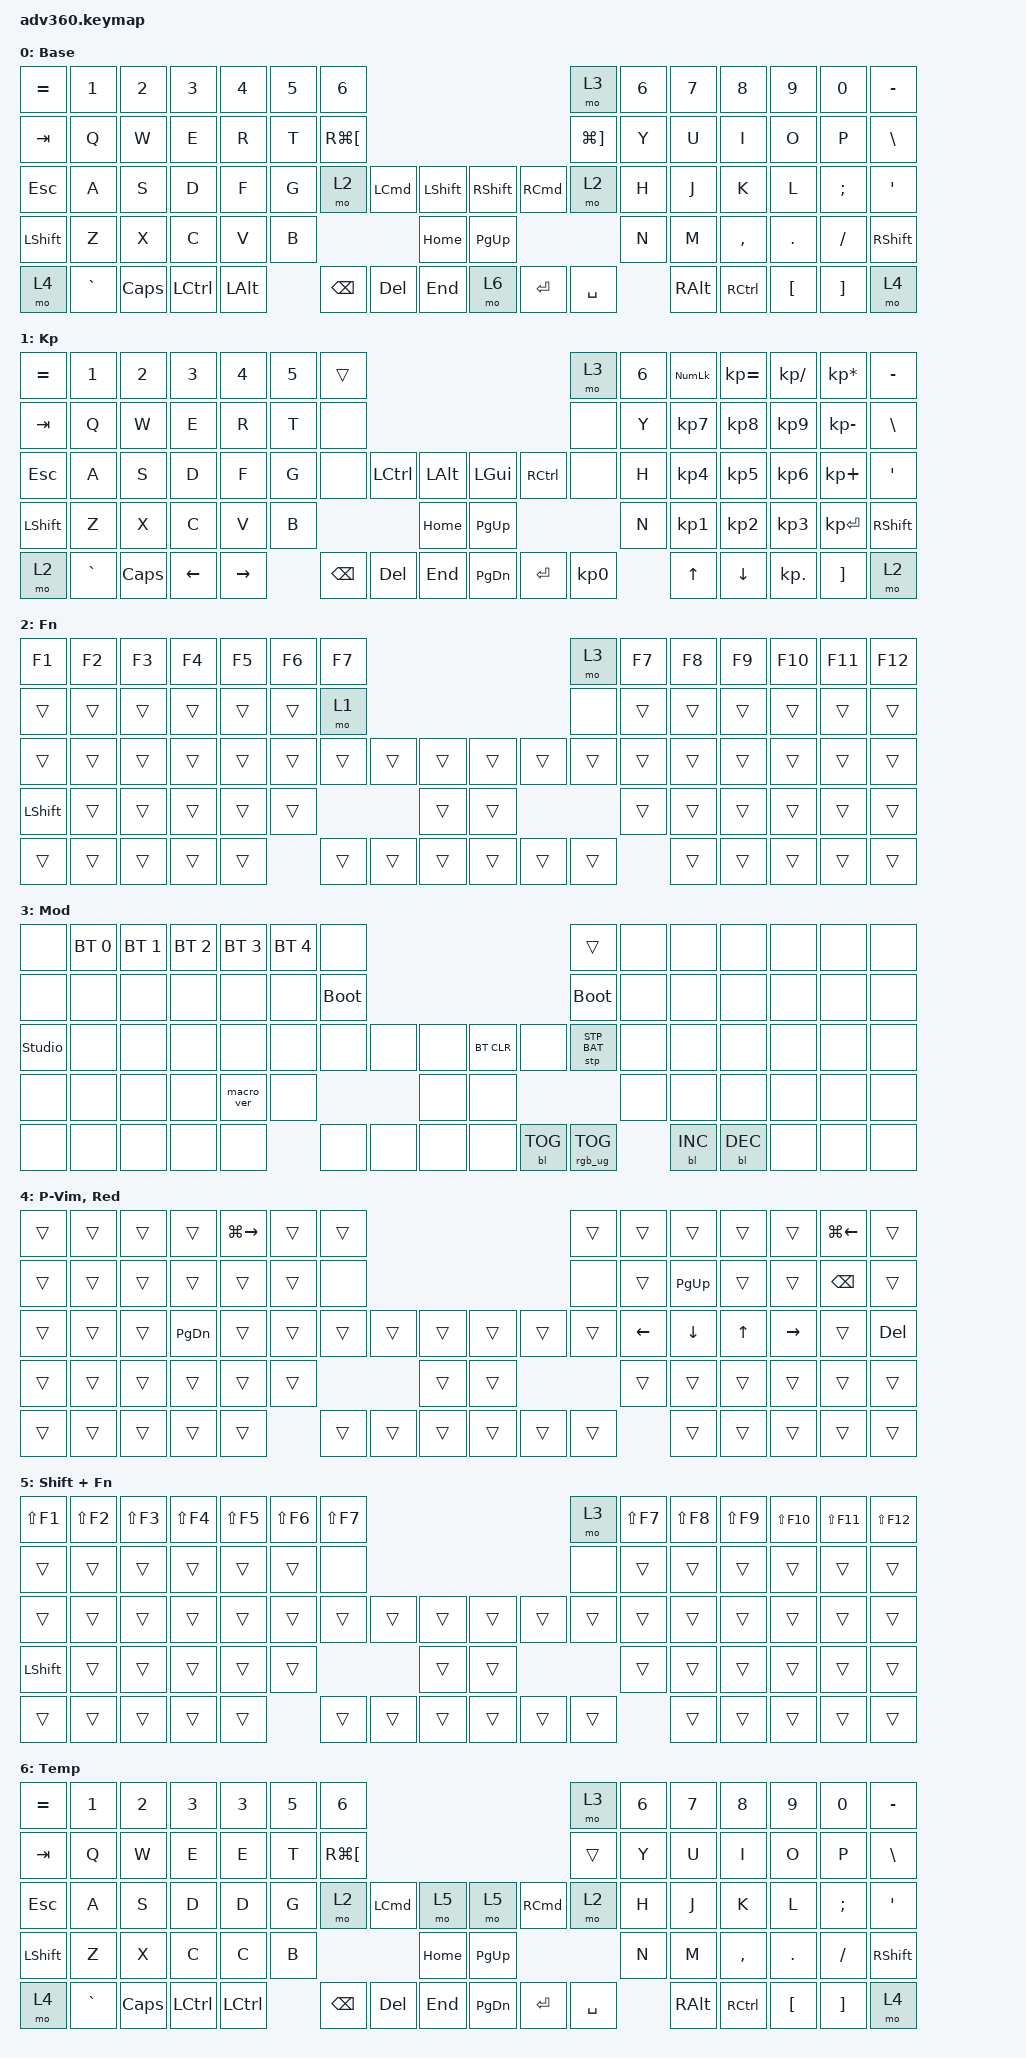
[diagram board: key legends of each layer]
#include <dt-bindings/zmk/stp.h>
#include <behaviors.dtsi>
#include <dt-bindings/zmk/backlight.h>
#include <dt-bindings/zmk/bt.h>
#include <dt-bindings/zmk/keys.h>
#include <dt-bindings/zmk/rgb.h>

/ {
    behaviors {
        #include "macros.dtsi"
      #include "version.dtsi"

        hm: homerow_mods {
            compatible = "zmk,behavior-hold-tap";
            label = "HOMEROW_MODS";
            #binding-cells = <2>;
            tapping-term-ms = <200>;
            quick_tap_ms = <175>;
            flavor = "tap-preferred";
            bindings = <&kp>, <&kp>;
        };
    };

    combos {
        compatible = "zmk,combos";

        mute {
            bindings = <&kp K_MUTE>;
            key-positions = <11 46>;
            layers = <2>;
        };
    };

    keymap {
        compatible = "zmk,keymap";

        default_layer {
            display-name = "Base";
            bindings = <
&kp EQUAL   &kp N1     &kp N2    &kp N3            &kp N4    &kp N5  &kp NUMBER_6                                                                         &mo 3                  &kp N6  &kp N7    &kp N8     &kp N9    &kp N0    &kp MINUS
&kp TAB     &kp Q      &kp W     &kp E             &kp R     &kp T   &kp RG(LEFT_BRACKET)                                                                 &kp LG(RIGHT_BRACKET)  &kp Y   &kp U     &kp I      &kp O     &kp P     &kp BSLH
&kp ESCAPE  &kp A      &kp S     &kp D             &kp F     &kp G   &mo 2                 &kp LEFT_COMMAND  &kp LSHFT      &kp RSHFT  &kp RIGHT_COMMAND  &mo 2                  &kp H   &kp J     &kp K      &kp L     &kp SEMI  &kp SQT
&kp LSHFT   &kp Z      &kp X     &kp C             &kp V     &kp B                                           &kp HOME       &kp PG_UP                                            &kp N   &kp M     &kp COMMA  &kp DOT   &kp FSLH  &kp RSHFT
&mo 4       &kp GRAVE  &kp CAPS  &kp LEFT_CONTROL  &kp LALT          &kp BSPC              &kp DEL           &kp END        &mo 6      &kp ENTER          &kp SPACE                      &kp RALT  &kp RCTRL  &kp LBKT  &kp RBKT  &mo 4
            >;
        };

        keypad {
            display-name = "Kp";
            bindings = <
&kp EQUAL  &kp N1     &kp N2    &kp N3    &kp N4     &kp N5  &trans                                                   &mo 3      &kp N6  &kp KP_NUM  &kp KP_EQUAL  &kp KP_DIVIDE  &kp KP_MULTIPLY  &kp MINUS
&kp TAB    &kp Q      &kp W     &kp E     &kp R      &kp T   &none                                                    &none      &kp Y   &kp KP_N7   &kp KP_N8     &kp KP_N9      &kp KP_MINUS     &kp BSLH
&kp ESC    &kp A      &kp S     &kp D     &kp F      &kp G   &none     &kp LCTRL  &kp LALT      &kp LGUI   &kp RCTRL  &none      &kp H   &kp KP_N4   &kp KP_N5     &kp KP_N6      &kp KP_PLUS      &kp SQT
&kp LSHFT  &kp Z      &kp X     &kp C     &kp V      &kp B                        &kp HOME      &kp PG_UP                        &kp N   &kp KP_N1   &kp KP_N2     &kp KP_N3      &kp KP_ENTER     &kp RSHFT
&mo 2      &kp GRAVE  &kp CAPS  &kp LEFT  &kp RIGHT          &kp BSPC  &kp DEL    &kp END       &kp PG_DN  &kp ENTER  &kp KP_N0          &kp UP      &kp DOWN      &kp KP_DOT     &kp RBKT         &mo 2
            >;
        };

        fn {
            display-name = "Fn";
            bindings = <
&kp F1     &kp F2  &kp F3  &kp F4  &kp F5  &kp F6  &kp F7                                      &mo 3   &kp F7  &kp F8  &kp F9  &kp F10  &kp F11  &kp F12
&trans     &trans  &trans  &trans  &trans  &trans  &mo 1                                       &none   &trans  &trans  &trans  &trans   &trans   &trans
&trans     &trans  &trans  &trans  &trans  &trans  &trans  &trans  &trans      &trans  &trans  &trans  &trans  &trans  &trans  &trans   &trans   &trans
&kp LSHFT  &trans  &trans  &trans  &trans  &trans                  &trans      &trans                  &trans  &trans  &trans  &trans   &trans   &trans
&trans     &trans  &trans  &trans  &trans          &trans  &trans  &trans      &trans  &trans  &trans          &trans  &trans  &trans   &trans   &trans
            >;
        };

        mod {
            display-name = "Mod";
            bindings = <
&none           &bt BT_SEL 0  &bt BT_SEL 1  &bt BT_SEL 2  &bt BT_SEL 3  &bt BT_SEL 4  &none                                                  &trans           &none  &none       &none       &none  &none  &none
&none           &none         &none         &none         &none         &none         &bootloader                                            &bootloader      &none  &none       &none       &none  &none  &none
&studio_unlock  &none         &none         &none         &none         &none         &none        &none  &none      &bt BT_CLR  &none       &stp STP_BAT     &none  &none       &none       &none  &none  &none
&none           &none         &none         &none         &macro_ver    &none                             &none      &none                                    &none  &none       &none       &none  &none  &none
&none           &none         &none         &none         &none                       &none        &none  &none      &none       &bl BL_TOG  &rgb_ug RGB_TOG         &bl BL_INC  &bl BL_DEC  &none  &none  &none
            >;
        };

        p-vim {
            display-name = "P-Vim, Red";
            bindings = <
&trans  &trans  &trans  &trans         &kp LG(RIGHT)  &trans  &trans                                      &trans  &trans          &trans          &trans        &trans     &kp LG(LEFT)   &trans
&trans  &trans  &trans  &trans         &trans         &trans  &none                                       &none   &trans          &kp PAGE_UP     &trans        &trans     &kp BACKSPACE  &trans
&trans  &trans  &trans  &kp PAGE_DOWN  &trans         &trans  &trans  &trans  &trans      &trans  &trans  &trans  &kp LEFT_ARROW  &kp DOWN_ARROW  &kp UP_ARROW  &kp RIGHT  &trans         &kp DELETE
&trans  &trans  &trans  &trans         &trans         &trans                  &trans      &trans                  &trans          &trans          &trans        &trans     &trans         &trans
&trans  &trans  &trans  &trans         &trans                 &trans  &trans  &trans      &trans  &trans  &trans                  &trans          &trans        &trans     &trans         &trans
            >;
        };

        shift_fn {
            display-name = "Shift + Fn";
            bindings = <
&kp LS(F1)  &kp LS(F2)  &kp LS(F3)  &kp LS(F4)  &kp LS(F5)  &kp LS(F6)  &kp LS(F7)                                      &mo 3   &kp LS(F7)  &kp LS(F8)  &kp LS(F9)  &kp LS(F10)  &kp LS(F11)  &kp LS(F12)
&trans      &trans      &trans      &trans      &trans      &trans      &none                                           &none   &trans      &trans      &trans      &trans       &trans       &trans
&trans      &trans      &trans      &trans      &trans      &trans      &trans      &trans  &trans      &trans  &trans  &trans  &trans      &trans      &trans      &trans       &trans       &trans
&kp LSHFT   &trans      &trans      &trans      &trans      &trans                          &trans      &trans                  &trans      &trans      &trans      &trans       &trans       &trans
&trans      &trans      &trans      &trans      &trans                  &trans      &trans  &trans      &trans  &trans  &trans              &trans      &trans      &trans       &trans       &trans
            >;
        };

        cut_finger {
            display-name = "Temp";
            bindings = <
&kp EQUAL   &kp N1     &kp N2    &kp N3            &kp N3            &kp N5  &kp NUMBER_6                                                                        &mo 3      &kp N6  &kp N7    &kp N8     &kp N9    &kp N0    &kp MINUS
&kp TAB     &kp Q      &kp W     &kp E             &kp E             &kp T   &kp RG(LEFT_BRACKET)                                                                &trans     &kp Y   &kp U     &kp I      &kp O     &kp P     &kp BSLH
&kp ESCAPE  &kp A      &kp S     &kp D             &kp D             &kp G   &mo 2                 &kp LEFT_COMMAND  &mo 5         &mo 5      &kp RIGHT_COMMAND  &mo 2      &kp H   &kp J     &kp K      &kp L     &kp SEMI  &kp SQT
&kp LSHFT   &kp Z      &kp X     &kp C             &kp C             &kp B                                           &kp HOME      &kp PG_UP                                &kp N   &kp M     &kp COMMA  &kp DOT   &kp FSLH  &kp RSHFT
&mo 4       &kp GRAVE  &kp CAPS  &kp LEFT_CONTROL  &kp LEFT_CONTROL          &kp BSPC              &kp DEL           &kp END       &kp PG_DN  &kp ENTER          &kp SPACE          &kp RALT  &kp RCTRL  &kp LBKT  &kp RBKT  &mo 4
            >;
        };

        extra3 {
            display-name = "Cyan";
            status = "reserved";
        };

        extra4 {
            display-name = "Yellow";
            status = "reserved";
        };
    };
};
